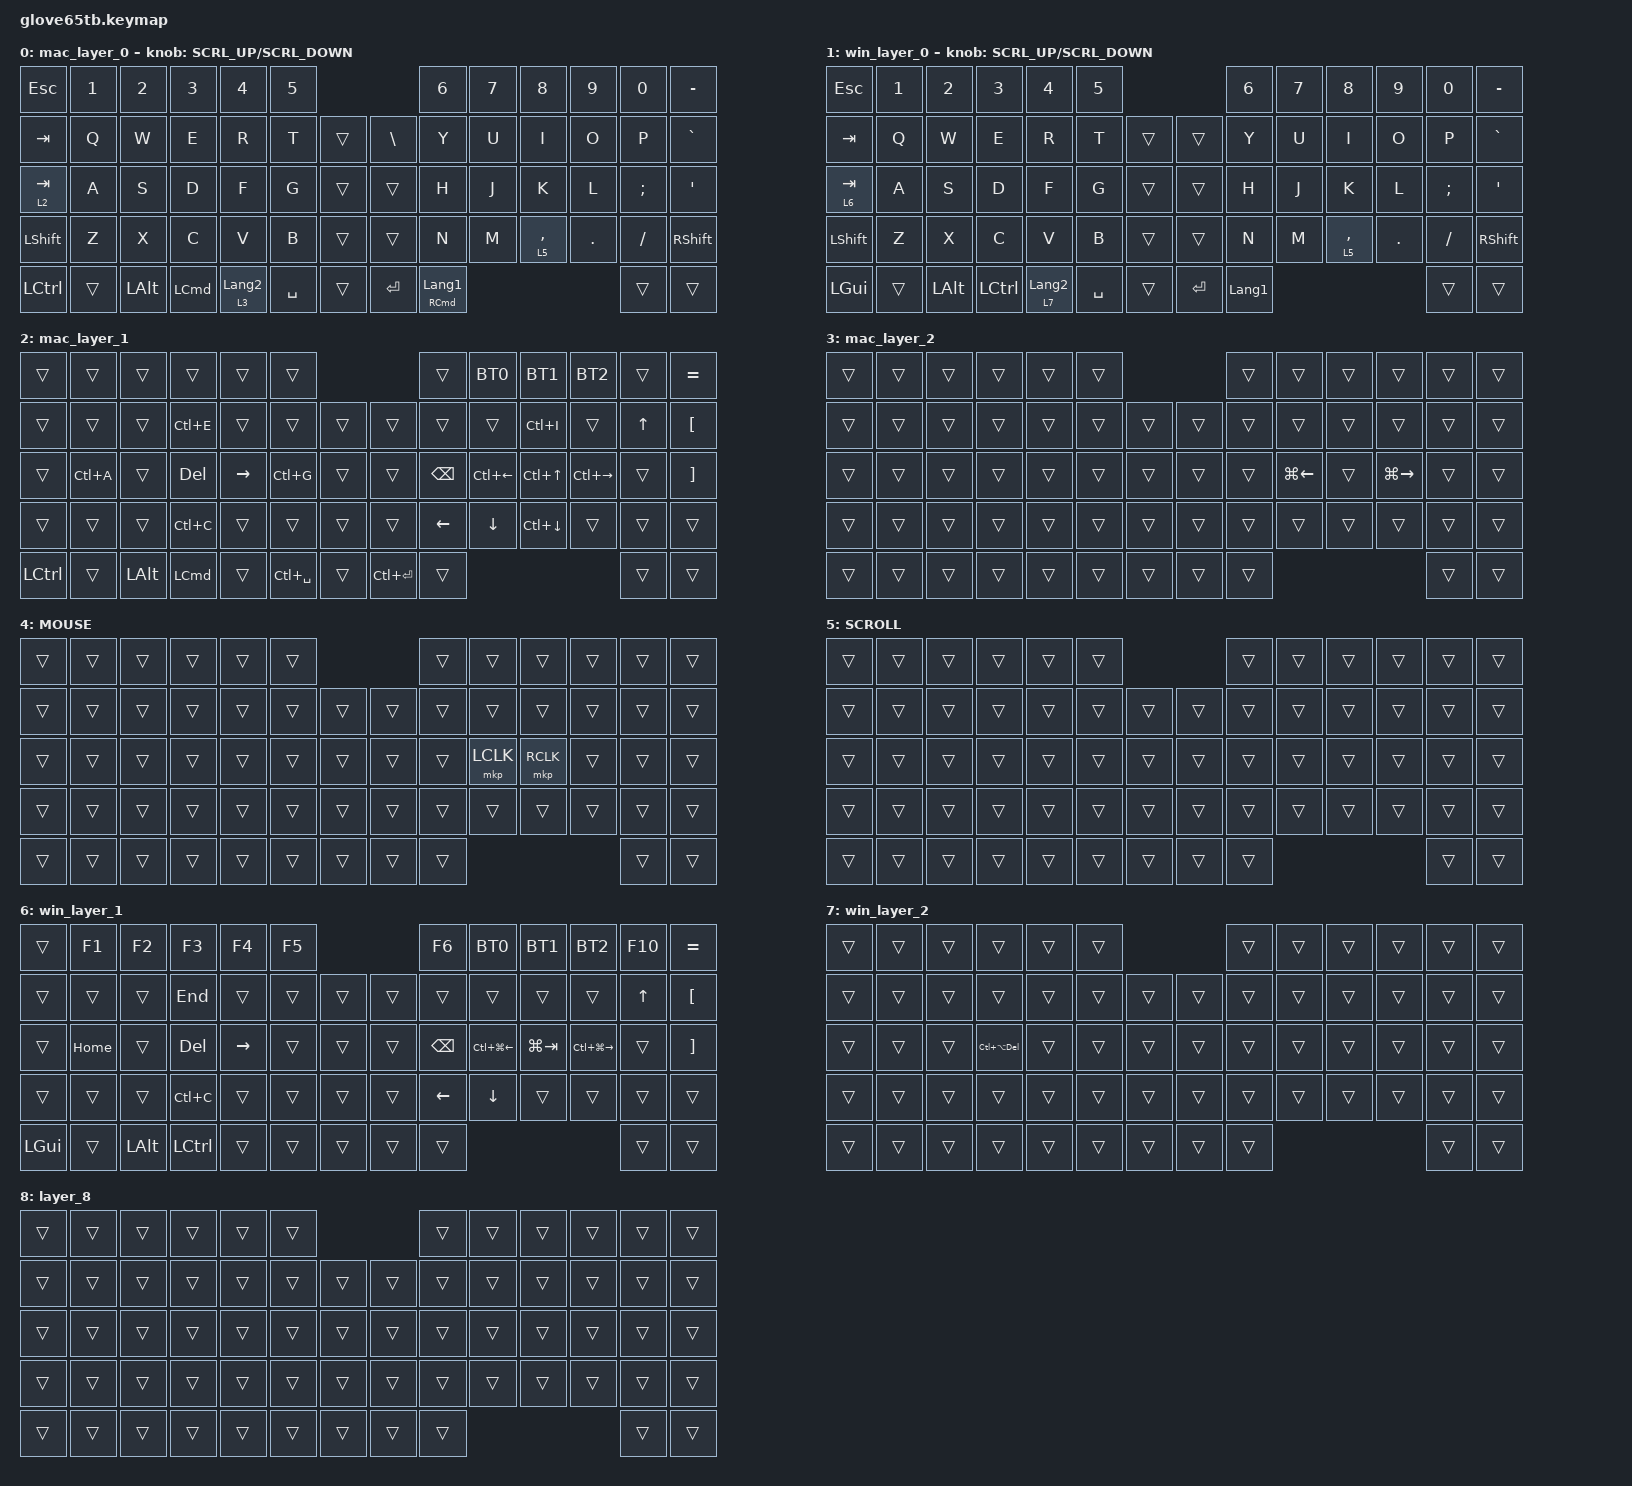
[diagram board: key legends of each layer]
#define ZMK_POINTING_DEFAULT_SCRL_VAL 150

#include <behaviors.dtsi>
#include <behaviors/rgbled_widget.dtsi>
#include <dt-bindings/zmk/bt.h>
#include <dt-bindings/zmk/keys.h>
#include <dt-bindings/zmk/pointing.h>
#include <dt-bindings/zmk/input_transform.h>
#include <input/processors.dtsi>
#include <zephyr/dt-bindings/input/input-event-codes.h>

// Layer Numbering
#define MAC0 0
#define WIN0 1
#define MAC1 2
#define MAC2 3
#define MOUSE 4
#define SCROLL 5
#define WIN1 6
#define WIN2 7

&mmv {
    delay-ms = <20>;
    trigger-period-ms = <5>;
    time-to-max-speed-ms = <100>;
    acceleration-exponent = <2>;
};

&msc {
    delay-ms = <3>;
    trigger-period-ms = <3>;
    time-to-max-speed-ms = <100>;
    acceleration-exponent = <0>;
};

/ {
    input_processors {
        zip_wheel_scaler: zip_wheel_scaler {
            compatible = "zmk,input-processor-scaler";
            #input-processor-cells = <2>;
            type = <INPUT_EV_REL>;
            codes = <INPUT_REL_WHEEL>;
            track-remainders;
        };
    };
};

/ {
    combos {
        compatible = "zmk,combos";

        scroll {
            bindings = <&mo 4>;
            key-positions = <49 50>;
        };
    };

    behaviors {
        sensor_rotate_kp: sensor_rotate_kp {
            compatible = "zmk,behavior-sensor-rotate-var";
            #sensor-binding-cells = <2>;
            bindings = <&kp>, <&kp>;
        };

        mouse_wheel_scroll: mouse_wheel_scroll {
            compatible = "zmk,behavior-sensor-rotate-var";
            #sensor-binding-cells = <2>;
            bindings = <&msc>, <&msc>;
            tap-ms = <20>;
        };

        tog_on: toggle_layer_on_only {
            compatible = "zmk,behavior-toggle-layer";
            #binding-cells = <1>;
            display-name = "Toggle Layer On";
            toggle-mode = "on";
        };

        tog_off: toggle_layer_off_only {
            compatible = "zmk,behavior-toggle-layer";
            #binding-cells = <1>;
            display-name = "Toggle Layer Off";
            toggle-mode = "off";
        };
    };

    macros {
        BT0: BT0 {
            compatible = "zmk,behavior-macro";
            #binding-cells = <0>;
            bindings =
                <&tog_off 0 &tog_off 1>,
                <&macro_wait_time 200>,
                <&bt BT_SEL 0>,
                <&macro_wait_time 200>,
                <&tog_on 0>;

            label = "BT0";
        };

        BT1: BT1 {
            compatible = "zmk,behavior-macro";
            #binding-cells = <0>;
            bindings =
                <&tog_off 0 &tog_off 1>,
                <&macro_wait_time 200>,
                <&bt BT_SEL 1>,
                <&macro_wait_time 200>,
                <&tog_on 1>;

            label = "BT1";
        };

        BT2: BT2 {
            compatible = "zmk,behavior-macro";
            #binding-cells = <0>;
            bindings =
                <&tog_off 0 &tog_off 1>,
                <&macro_wait_time 200>,
                <&bt BT_SEL 2>,
                <&macro_wait_time 200>,
                <&tog_on 0>;

            label = "BT2";
        };
    };

    keymap {
        compatible = "zmk,keymap";

        mac_layer_0 {
            label = "mac_layer_0";
            bindings = <
&kp ESC           &kp N1  &kp N2        &kp N3            &kp N4            &kp N5                            &kp N6                        &kp N7  &kp N8       &kp N9   &kp N0    &kp MINUS
&kp TAB           &kp Q   &kp W         &kp E             &kp R             &kp T      &trans  &kp BACKSLASH  &kp Y                         &kp U   &kp I        &kp O    &kp P     &kp GRAVE
&lt 2 TAB         &kp A   &kp S         &kp D             &kp F             &kp G      &trans  &trans         &kp H                         &kp J   &kp K        &kp L    &kp SEMI  &kp SINGLE_QUOTE
&kp LEFT_SHIFT    &kp Z   &kp X         &kp C             &kp V             &kp B      &trans  &trans         &kp N                         &kp M   &lt 5 COMMA  &kp DOT  &kp FSLH  &kp RIGHT_SHIFT
&kp LEFT_CONTROL  &trans  &kp LEFT_ALT  &kp LEFT_COMMAND  &lt 3 LANGUAGE_2  &kp SPACE  &trans  &kp ENTER      &mt RIGHT_COMMAND LANGUAGE_1                                &trans    &trans
            >;

            sensor-bindings = <&mouse_wheel_scroll SCRL_UP SCRL_DOWN>;
        };

        win_layer_0 {
            label = "win_layer_0";
            bindings = <
&kp ESC         &kp N1  &kp N2        &kp N3            &kp N4            &kp N5                        &kp N6          &kp N7  &kp N8       &kp N9   &kp N0    &kp MINUS
&kp TAB         &kp Q   &kp W         &kp E             &kp R             &kp T      &trans  &trans     &kp Y           &kp U   &kp I        &kp O    &kp P     &kp GRAVE
&lt 6 TAB       &kp A   &kp S         &kp D             &kp F             &kp G      &trans  &trans     &kp H           &kp J   &kp K        &kp L    &kp SEMI  &kp SINGLE_QUOTE
&kp LEFT_SHIFT  &kp Z   &kp X         &kp C             &kp V             &kp B      &trans  &trans     &kp N           &kp M   &lt 5 COMMA  &kp DOT  &kp FSLH  &kp RIGHT_SHIFT
&kp LEFT_GUI    &trans  &kp LEFT_ALT  &kp LEFT_CONTROL  &lt 7 LANGUAGE_2  &kp SPACE  &trans  &kp ENTER  &kp LANGUAGE_1                                &trans    &trans
            >;

            sensor-bindings = <&mouse_wheel_scroll SCRL_UP SCRL_DOWN>;
        };

        mac_layer_1 {
            label = "mac_layer_1";
            bindings = <
&trans            &trans     &trans        &trans            &trans     &trans                                &trans         &BT0          &BT1              &BT2           &trans        &kp EQUAL
&trans            &trans     &trans        &kp LC(E)         &trans     &trans         &trans  &trans         &trans         &trans        &kp LC(I)         &trans         &kp UP_ARROW  &kp LEFT_BRACKET
&trans            &kp LC(A)  &trans        &kp DELETE        &kp RIGHT  &kp LC(G)      &trans  &trans         &kp BACKSPACE  &kp LC(LEFT)  &kp LC(UP_ARROW)  &kp LC(RIGHT)  &trans        &kp RIGHT_BRACKET
&trans            &trans     &trans        &kp LC(C)         &trans     &trans         &trans  &trans         &kp LEFT       &kp DOWN      &kp LC(DOWN)      &trans         &trans        &trans
&kp LEFT_CONTROL  &trans     &kp LEFT_ALT  &kp LEFT_COMMAND  &trans     &kp LC(SPACE)  &trans  &kp LC(ENTER)  &trans                                                        &trans        &trans
            >;
        };

        mac_layer_2 {
            label = "mac_layer_2";
            bindings = <
&trans  &trans  &trans  &trans  &trans  &trans                  &trans  &trans        &trans  &trans         &trans  &trans
&trans  &trans  &trans  &trans  &trans  &trans  &trans  &trans  &trans  &trans        &trans  &trans         &trans  &trans
&trans  &trans  &trans  &trans  &trans  &trans  &trans  &trans  &trans  &kp LG(LEFT)  &trans  &kp LG(RIGHT)  &trans  &trans
&trans  &trans  &trans  &trans  &trans  &trans  &trans  &trans  &trans  &trans        &trans  &trans         &trans  &trans
&trans  &trans  &trans  &trans  &trans  &trans  &trans  &trans  &trans                                       &trans  &trans
            >;
        };

        mouse_layer {
            label = "MOUSE";
            bindings = <
&trans  &trans  &trans  &trans  &trans  &trans                  &trans  &trans     &trans     &trans  &trans  &trans
&trans  &trans  &trans  &trans  &trans  &trans  &trans  &trans  &trans  &trans     &trans     &trans  &trans  &trans
&trans  &trans  &trans  &trans  &trans  &trans  &trans  &trans  &trans  &mkp LCLK  &mkp RCLK  &trans  &trans  &trans
&trans  &trans  &trans  &trans  &trans  &trans  &trans  &trans  &trans  &trans     &trans     &trans  &trans  &trans
&trans  &trans  &trans  &trans  &trans  &trans  &trans  &trans  &trans                                &trans  &trans
            >;
        };

        scroll_layer {
            label = "SCROLL";
            bindings = <
&trans  &trans  &trans  &trans  &trans  &trans                  &trans  &trans  &trans  &trans  &trans  &trans
&trans  &trans  &trans  &trans  &trans  &trans  &trans  &trans  &trans  &trans  &trans  &trans  &trans  &trans
&trans  &trans  &trans  &trans  &trans  &trans  &trans  &trans  &trans  &trans  &trans  &trans  &trans  &trans
&trans  &trans  &trans  &trans  &trans  &trans  &trans  &trans  &trans  &trans  &trans  &trans  &trans  &trans
&trans  &trans  &trans  &trans  &trans  &trans  &trans  &trans  &trans                          &trans  &trans
            >;
        };

        win_layer_1 {
            label = "win_layer_1";
            bindings = <
&trans    &kp F1    &kp F2    &kp F3      &kp F4     &kp F5                  &kp F6         &BT0              &BT1         &BT2               &kp F10       &kp EQUAL
&trans    &trans    &trans    &kp END     &trans     &trans  &trans  &trans  &trans         &trans            &trans       &trans             &kp UP_ARROW  &kp LBKT
&trans    &kp HOME  &trans    &kp DELETE  &kp RIGHT  &trans  &trans  &trans  &kp BACKSPACE  &kp LC(LG(LEFT))  &kp LG(TAB)  &kp LC(LG(RIGHT))  &trans        &kp RBKT
&trans    &trans    &trans    &kp LC(C)   &trans     &trans  &trans  &trans  &kp LEFT       &kp DOWN          &trans       &trans             &trans        &trans
&kp LGUI  &trans    &kp LALT  &kp LCTRL   &trans     &trans  &trans  &trans  &trans                                                           &trans        &trans
            >;
        };

        win_layer_2 {
            label = "win_layer_2";
            bindings = <
&trans  &trans  &trans  &trans              &trans  &trans                  &trans  &trans  &trans  &trans  &trans  &trans
&trans  &trans  &trans  &trans              &trans  &trans  &trans  &trans  &trans  &trans  &trans  &trans  &trans  &trans
&trans  &trans  &trans  &kp LC(LA(DELETE))  &trans  &trans  &trans  &trans  &trans  &trans  &trans  &trans  &trans  &trans
&trans  &trans  &trans  &trans              &trans  &trans  &trans  &trans  &trans  &trans  &trans  &trans  &trans  &trans
&trans  &trans  &trans  &trans              &trans  &trans  &trans  &trans  &trans                          &trans  &trans
            >;
        };

        layer_8 {
            bindings = <
&trans  &trans  &trans  &trans  &trans  &trans                  &trans  &trans  &trans  &trans  &trans  &trans
&trans  &trans  &trans  &trans  &trans  &trans  &trans  &trans  &trans  &trans  &trans  &trans  &trans  &trans
&trans  &trans  &trans  &trans  &trans  &trans  &trans  &trans  &trans  &trans  &trans  &trans  &trans  &trans
&trans  &trans  &trans  &trans  &trans  &trans  &trans  &trans  &trans  &trans  &trans  &trans  &trans  &trans
&trans  &trans  &trans  &trans  &trans  &trans  &trans  &trans  &trans                          &trans  &trans
            >;
        };
    };
};
